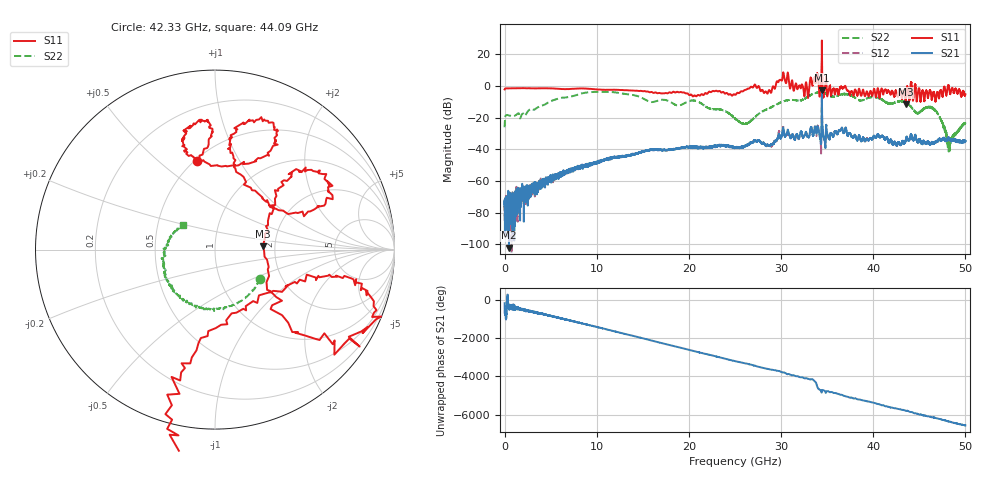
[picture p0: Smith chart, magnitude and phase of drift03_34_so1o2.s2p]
!Created with skrf (http://scikit-rf.org).
# Hz S RI R 50.0
!freq ReS11 ImS11 ReS21 ImS21 ReS12 ImS12 ReS22 ImS22
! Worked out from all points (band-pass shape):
!   10000 points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, 5.3 MHz to 50 GHz, reference 50 ohm
!   highest |S21| = -2.74 dB at 34.43 GHz (marker M1); lowest = -102.1 dB at 475.3 MHz (marker M2)
!   |S21| within 3 dB of the highest: 34.42744 GHz to 34.43451 GHz (7.064 MHz wide, 0.0205 % of centre)
!   lowest |S11| = -11.4 dB at 43.52 GHz (marker M3), VSWR 1.73, Z = 86.5 + j3.45 ohm
!   |S11| at or under -10 dB: 43.4937 GHz to 43.54553 GHz (51.83 MHz wide, 0.119 % of centre)
!   |S22| runs from -41.4 to -3.6 dB; largest |S21 - S12| = 0.25
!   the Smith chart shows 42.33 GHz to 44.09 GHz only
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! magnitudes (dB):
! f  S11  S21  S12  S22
! 5.3 MHz  -2.1  -72.1  -85.1  -26.0
! 475.3 MHz  -1.4  -102.1  -77.7  -18.5
! 1.82 GHz  -1.3  -70.1  -71.9  -18.6
! 8.34 GHz  -1.5  -50.6  -50.4  -4.7
! 16.67 GHz  -4.4  -40.2  -40.1  -9.2
! 20.72 GHz  -6.2  -39.1  -38.3  -9.3
! 25.01 GHz  -5.5  -38.8  -38.8  -20.5
! 26.23 GHz  -2.2  -37.3  -37.5  -23.8
! 27.36 GHz  -1.1  -34.8  -35.1  -18.5
! 28.72 GHz  -2.5  -37.6  -37.6  -14.0
! 30.14 GHz  4.4  -29.3  -29.6  -9.9
! 32.74 GHz  2.0  -29.3  -29.2  -7.3
! 33.34 GHz  2.6  -27.5  -27.8  -5.3
! 33.82 GHz  4.0  -29.1  -29.4  -4.4
! 34.43 GHz  28.8  -2.7  -4.7  -4.0
! 36.48 GHz  -0.4  -28.1  -27.9  -5.3
! 41.67 GHz  -3.0  -35.8  -35.5  -11.1
! 43.52 GHz  -11.4  -34.4  -34.3  -10.4
! 44.74 GHz  -9.1  -34.4  -34.4  -17.1
! 46.66 GHz  -5.3  -36.1  -35.7  -15.2
! 48.24 GHz  -1.3  -33.4  -33.1  -37.3
! 50 GHz  -5.2  -34.6  -35.4  -23.3
